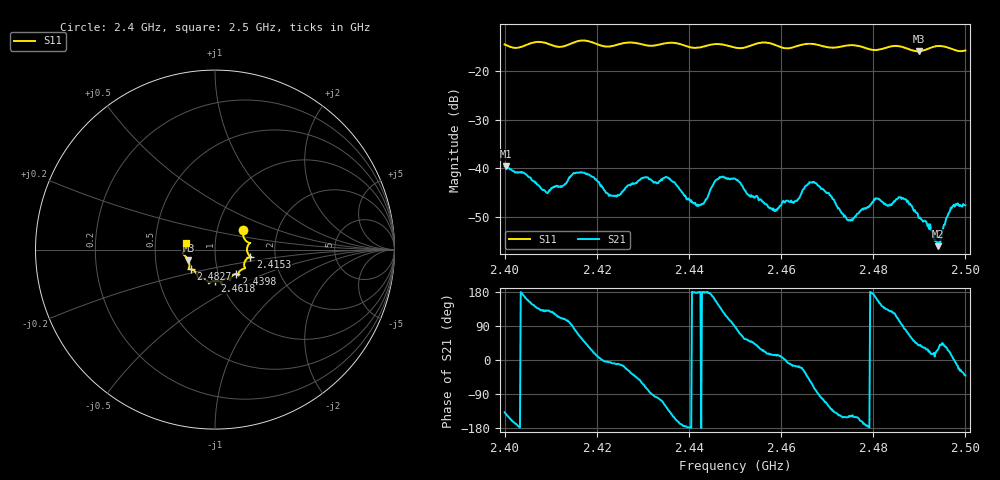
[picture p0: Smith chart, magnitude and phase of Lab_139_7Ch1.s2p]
# Hz S RI R 50
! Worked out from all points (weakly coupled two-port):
!   601 points, 2.4 GHz to 2.5 GHz, reference 50 ohm
!   highest |S21| = -39.54 dB at 2.4003 GHz (marker M1); lowest = -56.0 dB at 2.494 GHz (marker M2)
!   lowest |S11| = -15.9 dB at 2.4898 GHz (marker M3), VSWR 1.38, Z = 36.9 - j4.59 ohm
!   |S11| at or under -10 dB: start of sweep to end of sweep
!   S12 and S22 are empty: the file has one direction only
!   S11 on the Smith chart (normalised r, x): 2.4 GHz: 1.33, +0.29; 2.4153 GHz: 1.48, -0.12; 2.4398 GHz: 1.21, -0.34; 2.4618 GHz: 0.94, -0.33; 2.4827 GHz: 0.75, -0.17; 2.5 GHz: 0.72, +0.06
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2.4e9  0.1554 0.1067  -0.00781 -0.00704  0 0  0 0
2.400333e9  0.155 0.1019  -0.00841 -0.00636  0 0  0 0
2.409167e9  0.1906 0.0332  -0.00365 0.00424  0 0  0 0
2.415333e9  0.1965 -0.039  0.00185 0.00872  0 0  0 0
2.416667e9  0.2023 -0.0431  0.0049 0.00773  0 0  0 0
2.423833e9  0.1625 -0.0857  0.00513 -0.000812  0 0  0 0
2.433333e9  0.1308 -0.1336  -0.00126 -0.00695  0 0  0 0
2.439833e9  0.1156 -0.1361  -0.00477 -0.000174  0 0  0 0
2.442833e9  0.0898 -0.1531  -0.00427 3.99e-05  0 0  0 0
2.446167e9  0.0849 -0.1704  -0.00662 0.00402  0 0  0 0
2.45e9  0.0655 -0.1624  0.000324 0.00785  0 0  0 0
2.458333e9  0.0358 -0.1858  0.00377 0.000868  0 0  0 0
2.461833e9  -0.00278 -0.1728  0.00446 -0.000749  0 0  0 0
2.466667e9  -0.0343 -0.1881  0.00339 -0.00636  0 0  0 0
2.474667e9  -0.0916 -0.1605  -0.00248 -0.00153  0 0  0 0
2.482667e9  -0.1354 -0.1093  -0.00296 0.00301  0 0  0 0
2.483333e9  -0.1404 -0.1087  -0.00272 0.00315  0 0  0 0
2.486167e9  -0.1455 -0.1032  -0.000317 0.00483  0 0  0 0
2.489833e9  -0.148 -0.0607  0.00241 0.00194  0 0  0 0
2.494e9  -0.1802 -0.0225  0.00142 0.000709  0 0  0 0
2.497e9  -0.1697 -0.0074  0.00379 0.00077  0 0  0 0
2.5e9  -0.1589 0.0388  0.00316 -0.00272  0 0  0 0
